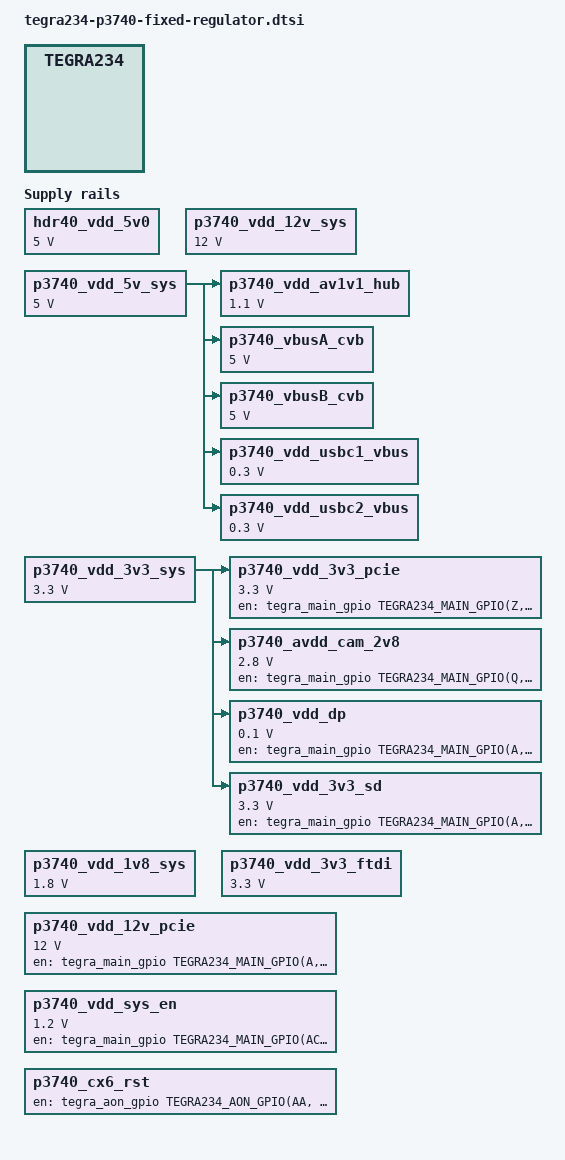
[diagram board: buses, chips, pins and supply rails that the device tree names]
/*
 * Copyright (c) 2021, NVIDIA CORPORATION.  All rights reserved.
 *
 * This program is free software; you can redistribute it and/or modify
 * it under the terms of the GNU General Public License as published by
 * the Free Software Foundation; either version 2 of the License, or
 * (at your option) any later version.
 *
 * This program is distributed in the hope that it will be useful, but WITHOUT
 * ANY WARRANTY; without even the implied warranty of MERCHANTABILITY or
 * FITNESS FOR A PARTICULAR PURPOSE.  See the GNU General Public License for
 * more details.
 */

#include <dt-bindings/gpio/tegra234-gpio.h>
/ {
	fixed-regulators {
		hdr40_vdd_5v0: battery_reg: regulator@0 {
			compatible = "regulator-fixed";
			reg = <0>;
			regulator-name = "vdd-ac-bat";
			regulator-min-microvolt = <5000000>;
			regulator-max-microvolt = <5000000>;
			regulator-always-on;
		};
		p3740_vdd_12v_sys: regulator@100 {
			compatible = "regulator-fixed";
			reg = <100>;
			regulator-name = "vdd-12v-sys";
			regulator-min-microvolt = <12000000>;
			regulator-max-microvolt = <12000000>;
		};
		p3740_vdd_5v_sys: vdd_5v_sys: regulator@101 {
			compatible = "regulator-fixed";
			reg = <101>;
			regulator-name = "vdd-5v-sys";
			regulator-min-microvolt = <5000000>;
			regulator-max-microvolt = <5000000>;
		};
		p3740_vdd_3v3_sys: vdd_3v3_sys: regulator@102 {
			compatible = "regulator-fixed";
			reg = <102>;
			regulator-name = "vdd-3v3-sys";
			regulator-min-microvolt = <3300000>;
			regulator-max-microvolt = <3300000>;
		};
		p3740_vdd_1v8_sys: regulator@103 {
			compatible = "regulator-fixed";
			reg = <103>;
			regulator-name = "vdd-1v8-sys";
			regulator-min-microvolt = <1800000>;
			regulator-max-microvolt = <1800000>;
		};
		p3740_vdd_3v3_ftdi: regulator@104 {
			compatible = "regulator-fixed";
			reg = <104>;
			regulator-name = "vdd-3v3-ftdi";
			regulator-min-microvolt = <3300000>;
			regulator-max-microvolt = <3300000>;
		};
		p3740_vdd_3v3_pcie: regulator@105 {
			compatible = "regulator-fixed";
			reg = <105>;
			regulator-name = "vdd-3v3-pcie";
			regulator-min-microvolt = <3300000>;
			regulator-max-microvolt = <3300000>;
			vin-supply = <&p3740_vdd_3v3_sys>;
			gpio = <&tegra_main_gpio TEGRA234_MAIN_GPIO(Z, 2) 0>;
			enable-active-high;
			regulator-boot-on;
		};
		p3740_avdd_cam_2v8: regulator@106 {
			compatible = "regulator-fixed";
			reg = <106>;
			regulator-name = "avdd-cam-2v8";
			regulator-min-microvolt = <2800000>;
			regulator-max-microvolt = <2800000>;
			vin-supply = <&p3740_vdd_3v3_sys>;
			gpio = <&tegra_main_gpio TEGRA234_MAIN_GPIO(Q, 1) 0>;
			enable-active-high;
		};
		p3740_vdd_av1v1_hub: regulator@107 {
			compatible = "regulator-fixed";
			reg = <107>;
			regulator-name = "vdd-av1v1-hub";
			regulator-min-microvolt = <1100000>;
			regulator-max-microvolt = <1100000>;
			regulator-always-on;
			vin-supply = <&p3740_vdd_5v_sys>;
		};
		p3740_vbusA_cvb: regulator@108 {
			compatible = "regulator-fixed";
			reg = <108>;
			regulator-name = "vbusA-cvb";
			regulator-min-microvolt = <5000000>;
			regulator-max-microvolt = <5000000>;
			regulator-always-on;
			vin-supply = <&p3740_vdd_5v_sys>;
		};
		p3740_vbusB_cvb: regulator@109 {
			compatible = "regulator-fixed";
			reg = <109>;
			regulator-name = "vbusB-cvb";
			regulator-min-microvolt = <5000000>;
			regulator-max-microvolt = <5000000>;
			regulator-always-on;
			vin-supply = <&p3740_vdd_5v_sys>;
		};
		p3740_vdd_dp: regulator@110 {
			compatible = "regulator-fixed";
			reg = <110>;
			regulator-name = "vdd-dp";
			regulator-min-microvolt = <100000>;
			regulator-max-microvolt = <100000>;
			vin-supply = <&p3740_vdd_3v3_sys>;
			gpio = <&tegra_main_gpio TEGRA234_MAIN_GPIO(A, 3) 0>;
			regulator-always-on; /* Keeping always-on for bringup */
			enable-active-high;
		};
		p3740_vdd_3v3_sd: regulator@111 {
			compatible = "regulator-fixed";
			reg = <111>;
			regulator-name = "vdd-3v3-sd";
			regulator-min-microvolt = <3300000>;
			regulator-max-microvolt = <3300000>;
			vin-supply = <&p3740_vdd_3v3_sys>;
			gpio = <&tegra_main_gpio TEGRA234_MAIN_GPIO(A, 0) 0>;
			regulator-always-on; /* Keeping always-on for bringup */
			enable-active-high;
		};
		p3740_vdd_usbc1_vbus: regulator@112 {
			compatible = "regulator-fixed";
			reg = <112>;
			regulator-name = "vdd-usbc1-vbus";
			regulator-min-microvolt = <300000>;
			regulator-max-microvolt = <300000>;
			regulator-always-on;
			vin-supply = <&p3740_vdd_5v_sys>;
		};
		p3740_vdd_usbc2_vbus: regulator@113 {
			compatible = "regulator-fixed";
			reg = <113>;
			regulator-name = "vdd-usbc2-vbus";
			regulator-min-microvolt = <300000>;
			regulator-max-microvolt = <300000>;
			regulator-always-on;
			vin-supply = <&p3740_vdd_5v_sys>;
		};
		p3740_vdd_12v_pcie: regulator@114 {
			compatible = "regulator-fixed";
			reg = <114>;
			regulator-name = "vdd-12v-pcie";
			regulator-min-microvolt = <12000000>;
			regulator-max-microvolt = <12000000>;
			gpio = <&tegra_main_gpio TEGRA234_MAIN_GPIO(A, 1) 1>;
			regulator-boot-on;
			enable-active-low;
		};
		p3740_vdd_sys_en: regulator@115 {
			compatible = "regulator-fixed";
			reg = <115>;
			regulator-name = "vdd_sys_en";
			regulator-min-microvolt = <1200000>;
			regulator-max-microvolt = <1200000>;
			gpio = <&tegra_main_gpio TEGRA234_MAIN_GPIO(AC, 7) 0>;
			regulator-always-on;
			enable-active-high;
		};
		p3740_cx6_rst: regulator@116 {
			/*
			 * There isn't a physical regulator corresponding to
			 * this item.  The associated GPIO connects to the CX6
			 * pin.  It allows us to keep RST# asserted while Linux
			 * boots and then deassert as we bring up the CX6.
			 */
			compatible = "regulator-fixed";
			reg = <116>;
			regulator-name = "cx6-rst-reg";
			gpio = <&tegra_aon_gpio TEGRA234_AON_GPIO(AA, 0) GPIO_OPEN_DRAIN>;
			enable-active-high;
		};
	};
};
